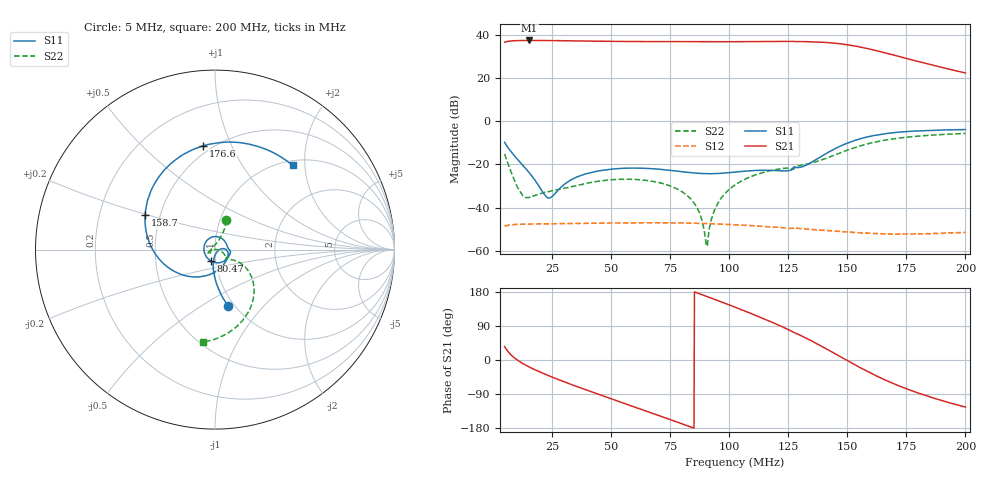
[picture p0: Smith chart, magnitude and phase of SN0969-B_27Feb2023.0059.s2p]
# Hz S DB R 50
! CMT, M5045, 22160017, 22.4.3/2
! Date: 2/27/2023 00:59:13
! Data: Format (Calibration Info)
! Freq	S11:dB/Ang(F2)	S21:dB/Ang(F2)	S12:dB/Ang(F2)	S22:dB/Ang(F2)
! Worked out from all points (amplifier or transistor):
!   1001 points, 5 MHz to 200 MHz, reference 50 ohm
!   highest |S21| = 37.3 dB at 15.53 MHz (marker M1)
!   |S21| within 3 dB of that: start of sweep to 155.3 MHz
!   unconditionally stable (mu >= 1): start of sweep to end of sweep
!   at 37.37 MHz: K = 1.76, MAG = 37.1 dB, |S12| = -47.2 dB
!   at 102.5 MHz: K = 1.94, MAG = 36.7 dB, |S12| = -47.9 dB
!   at 200 MHz: K = 6.55, MAG = 25.7 dB, |S12| = -51.4 dB
!   S11 on the Smith chart (normalised r, x): 5 MHz: 0.94, -0.66; 80.47 MHz: 0.95, -0.12; 158.7 MHz: 0.41, +0.19; 176.6 MHz: 0.45, +0.79; 200 MHz: 1.09, +1.73
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5000000  -9.82 -76.7  36.45 35.7  -48.52 38.9  -15.14 68.6
9095000  -15.93 -90.0  37.15 5.9  -47.75 8.6  -27.25 72.3
1.553e7  -23.97 -97.8  37.27 -18.8  -47.51 -16.3  -35.19 149.3
2.606e7  -33.73 -10.3  37.20 -47.5  -47.38 -44.3  -31.99 -163.1
3.7565e7  -24.95 3.1  37.03 -74.7  -47.21 -69.5  -29.29 -143.7
5.297e7  -21.93 -24.4  36.83 -108.9  -47.01 -100.9  -26.89 -144.5
7.013e7  -22.17 -69.9  36.70 -146.3  -46.93 -136.0  -28.36 -159.2
8.0465e7  -23.39 -108.0  36.68 -169.3  -47.08 -155.7  -32.88 -172.4
9.158e7  -24.26 -162.3  36.67 165.3  -47.42 -179.2  -50.49 22.5
1.025e8  -23.53 139.6  36.70 139.5  -47.90 157.4  -29.52 -14.7
1.1225e8  -22.75 90.1  36.76 115.2  -48.49 134.9  -24.43 -28.0
1.20635e8  -22.88 41.9  36.82 92.9  -49.00 113.5  -22.20 -35.9
1.2629e8  -22.50 4.0  36.89 76.4  -49.51 98.9  -21.90 -39.3
1.35065e8  -18.91 -80.3  36.66 49.8  -50.07 69.1  -19.28 -31.3
1.40915e8  -15.06 -120.5  36.36 30.3  -50.49 48.6  -17.24 -28.0
1.46375e8  -11.89 -150.9  35.82 11.3  -50.89 27.5  -14.90 -28.8
1.53005e8  -8.98 177.5  34.75 -11.8  -51.47 0.5  -12.28 -35.4
1.5866e8  -7.25 153.8  33.50 -30.5  -51.76 -21.4  -10.48 -43.6
1.6763e8  -5.58 122.1  31.11 -57.1  -52.17 -50.4  -8.49 -58.0
1.766e8  -4.70 96.3  28.53 -79.6  -52.16 -73.8  -7.26 -71.2
1.8674e8  -4.19 72.6  25.68 -100.9  -51.86 -94.2  -6.39 -83.9
2e8  -3.90 47.3  22.27 -124.2  -51.42 -114.1  -5.68 -97.5
